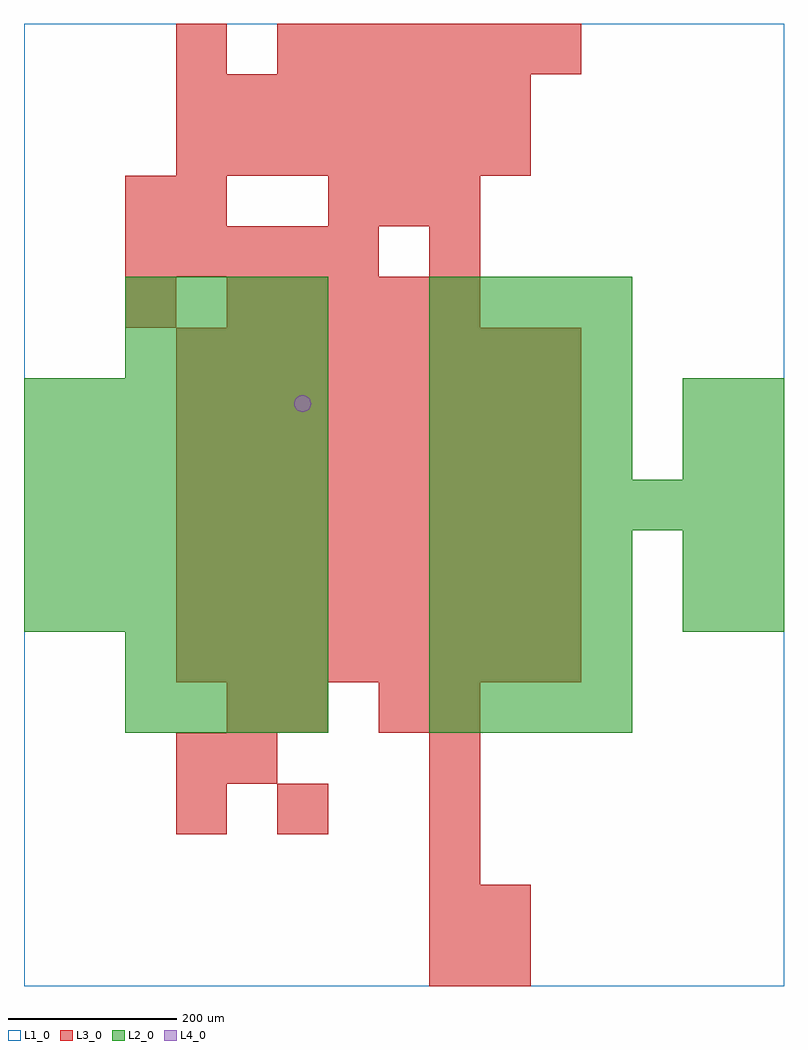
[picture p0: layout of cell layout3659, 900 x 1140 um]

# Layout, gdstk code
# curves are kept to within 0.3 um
import gdstk
lib = gdstk.Library(unit=1e-6, precision=1e-09)
def R(c, l, rs):  # rectangles x0, y0, x1, y1
    for r in rs: c.add(gdstk.rectangle(r[:2], r[2:], *l))
def A(c, l, x, y, w, h, nx, ny, dx, dy):  # array of equal rectangles
    R(c, l, [(x+i*dx, y+j*dy, x+i*dx+w, y+j*dy+h) for i in range(nx) for j in range(ny)])
def P(c, l, *ps):  # polygons
    for p in ps: c.add(gdstk.Polygon(p, *l))
L1_0 = (1, 0)
L2_0 = (2, 0)
L3_0 = (3, 0)
L4_0 = (4, 0)

layout3659 = lib.new_cell('layout3659')
R(layout3659, L1_0, [(0,0,900,1140)])
A(layout3659, L2_0, 120, 300, 60, 60, 4, 2, 60, 60)
A(layout3659, L2_0, 480, 300, 60, 60, 4, 4, 60, 60)
A(layout3659, L2_0, 0, 420, 60, 60, 6, 5, 60, 60)
A(layout3659, L2_0, 480, 540, 60, 60, 7, 1, 60, 0)
A(layout3659, L2_0, 480, 600, 60, 60, 4, 4, 60, 60)
A(layout3659, L2_0, 120, 720, 60, 60, 4, 2, 60, 60)
R(layout3659, L2_0, [(780,420,840,480), (840,420,900,480), (780,480,840,540), (840,480,900,540), (780,600,840,660), (840,600,900,660), (780,660,840,720), (840,660,900,720)])
A(layout3659, L3_0, 480, 0, 60, 60, 1, 6, 0, 60)
A(layout3659, L3_0, 180, 360, 60, 60, 8, 7, 60, 60)
A(layout3659, L3_0, 240, 780, 60, 60, 5, 1, 60, 0)
A(layout3659, L3_0, 120, 840, 60, 60, 5, 1, 60, 0)
A(layout3659, L3_0, 360, 900, 60, 60, 3, 1, 60, 0)
A(layout3659, L3_0, 180, 960, 60, 60, 7, 2, 60, 60)
A(layout3659, L3_0, 300, 1080, 60, 60, 6, 1, 60, 0)
R(layout3659, L3_0, [(540,0,600,60), (540,60,600,120), (180,180,240,240), (300,180,360,240), (180,240,240,300), (240,240,300,300), (240,300,300,360), (300,300,360,360), (420,300,480,360), (120,780,180,840), (480,840,540,900), (120,900,180,960), (180,900,240,960), (180,1080,240,1140)])
P(layout3659, L4_0, [(340,690),(339.239,693.827),(337.071,697.071),(333.827,699.239),(330,700),(326.173,699.239),(322.929,697.071),(320.761,693.827),(320,690),(320.761,686.173),(322.929,682.929),(326.173,680.761),(330,680),(333.827,680.761),(337.071,682.929),(339.239,686.173)])

lib.write_gds('layout3659.gds')
